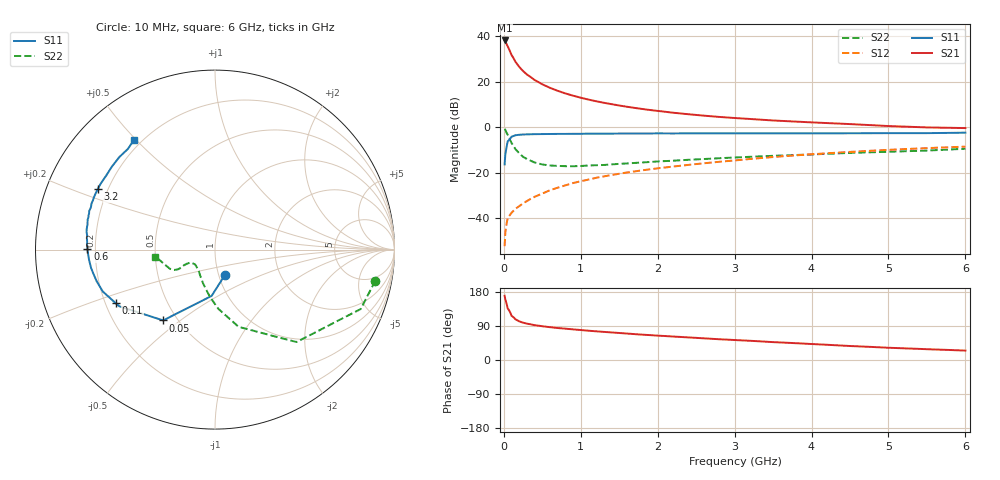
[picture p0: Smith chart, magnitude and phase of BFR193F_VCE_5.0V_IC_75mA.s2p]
! Infineon Technologies  Discrete & RF Semiconductors
! BFR193F
! VCE =  5.0 V,  IC =  75 mA
! Common Emitter S-Parameters:  Jan 2017
# GHz  S  MA  R  50
!  f  S11  S21  S12  S22
! GHz  MAG  ANG  MAG  ANG  MAG  ANG  MAG  ANG
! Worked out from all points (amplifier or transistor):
!   77 points, 10 MHz to 6 GHz, reference 50 ohm
!   highest |S21| = 38.2 dB at 10 MHz (marker M1)
!   |S21| within 3 dB of that: start of sweep to 56 MHz
!   unconditionally stable (mu >= 1): 672.4 MHz to 2.485 GHz
!   at 130 MHz: K = 0.58, MSG = 33.4 dB, |S12| = -36.7 dB
!   at 2.2 GHz: K = 1.02, MAG = 11.0 dB, |S12| = -17.3 dB
!   at 6 GHz: K = 0.86, MSG = 4.1 dB, |S12| = -8.5 dB
!   S11 on the Smith chart (normalised r, x): 10 MHz: 1.07, -0.31; 50 MHz: 0.42, -0.43; 110 MHz: 0.24, -0.24; 600 MHz: 0.17, +0.00; 3.2 GHz: 0.16, +0.24; 6 GHz: 0.17, +0.49
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0.01  0.1517 -68.6  81.69 169.5  0.0024 83.1  0.9098 -11.0
0.02  0.2587 -94.2  78.05 159.0  0.0049 76.4  0.8768 -22.2
0.05  0.4888 -126.2  60.69 136.2  0.0099 61.5  0.6865 -48.6
0.1  0.6201 -149.4  39.15 116.6  0.013 53.3  0.4502 -73.0
0.11  0.6279 -151.5  36.83 115.2  0.0136 53.6  0.4247 -75.1
0.15  0.6673 -159.5  27.85 107.5  0.0159 54.5  0.3308 -86.7
0.2  0.6824 -165.0  21.4 102.0  0.0183 58.2  0.2667 -95.8
0.25  0.6915 -169.1  17.29 98.5  0.0209 60.3  0.2235 -103.5
0.3  0.6981 -171.6  14.54 95.9  0.0237 63.3  0.1995 -109.5
0.4  0.7042 -175.4  10.98 91.8  0.0293 67.0  0.1674 -119.4
0.5  0.7077 -178.1  8.83 89.1  0.0346 69.6  0.1515 -126.2
0.6  0.7105 179.9  7.389 86.6  0.041 71.0  0.1437 -132.4
0.7  0.7135 177.8  6.349 84.4  0.0466 72.7  0.1409 -136.5
0.8  0.7137 176.5  5.56 82.7  0.0525 73.4  0.1388 -140.6
1.1  0.7223 172.2  4.073 77.3  0.0704 75.4  0.1438 -146.9
1.5  0.7264 167.8  3.016 71.3  0.0946 75.4  0.1562 -151.7
2.1  0.7317 162.1  2.191 63.2  0.1303 74.9  0.1798 -153.3
3.1  0.7348 153.7  1.56 51.7  0.1926 72.4  0.2194 -151.9
3.2  0.7348 152.8  1.522 50.7  0.1997 72.0  0.2233 -151.9
4.1  0.7336 144.9  1.259 41.2  0.2605 68.0  0.2557 -154.0
5.1  0.7411 135.0  1.048 31.6  0.3236 62.1  0.292 -163.5
6  0.7593 126.5  0.959 24.9  0.3741 56.5  0.336 -173.3
